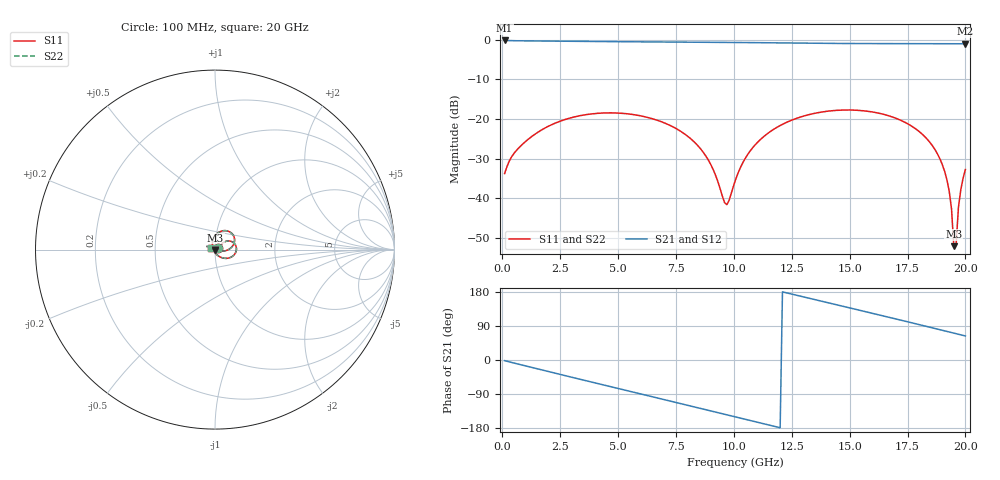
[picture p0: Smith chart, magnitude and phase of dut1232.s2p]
! Touchstone file exported from HFSS 2026.1.0
!  File:  C:/ffzhzh/LocalFiles/Ansys_Project_Files/temp_train_TSV_RDL_1232_1783322736_39728.aedt
!  Generated:  03:34:21 PM Jul  6, 2026
!  Design:  TSV_RDL
!  Project:  temp_train_TSV_RDL_1232_1783322736_39728
! Variables:
!  h_bsmrdl = 3.65um
!  h_ox = 20um
!  h_rdl = 5um
!  h_sub = 82.84um
!  h_tmrdl = 4.75um
!  h_tsv = 82.84um
!  h_via = 3um
!  l_bsmrdl = 904.39um
!  l_sub = 4928.56um
!  l_tmrdl = 420.36um
!  m_sub = 200um
!  pitch = 31.09um
!  r_tsv = 7.45um
!  s_tmrdl = 10um
!  w_bsmrdl = 26.88um
!  w_sub = 500um
!  w_tmrdl = 17.77um
!  x_tsv_center1 = 429.245um
!  x_tsv_center2 = 1360.515um
!  x_tsv_center3 = 1798.645um
!  x_tsv_center4 = 2729.915um
!  x_tsv_center5 = 3168.045um
!  x_tsv_center6 = 4099.315um
# GHz S MA R 50.000000
! Terminal data exported
! Port[1] = TM_RDL1_1_T1
! Port[2] = TM_RDL5_1_T1
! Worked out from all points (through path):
!   200 points, 100 MHz to 20 GHz, reference 50 ohm
!   highest |S21| = -0.17 dB at 100 MHz (marker M1); lowest = -1.0 dB at 20 GHz (marker M2)
!   group delay of S21, straight-line fit = 41 ps
!   lowest |S11| = -52.1 dB at 19.5 GHz (marker M3), VSWR 1.00, Z = 50.2 - j0.144 ohm
!   |S11| at or under -10 dB: start of sweep to end of sweep
!   |S22| runs from -52.1 to -17.7 dB; largest |S21 - S12| = 1.6e-14
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0.1  0.0205 18.8  0.9808 -1.7  0.9808 -1.7  0.0205 18.8
! Gamma 0 0 0 0
! Port Impedance 50 0 50 0
0.5  0.03666 36.0  0.9734 -8.0  0.9734 -8.0  0.03666 36.0
1.3  0.06102 39.8  0.9675 -20.0  0.9675 -20.0  0.06102 39.8
3.5  0.1122 18.6  0.9537 -53.0  0.9537 -53.0  0.1122 18.6
5.2  0.1179 -4.8  0.9452 -78.1  0.9452 -78.1  0.1179 -4.8
6.8  0.09409 -28.7  0.9397 -101.7  0.9397 -101.7  0.09409 -28.7
8.6  0.04078 -61.4  0.9334 -128.4  0.9334 -128.4  0.04075 -61.3
9.1  0.02331 -77.8  0.9311 -135.9  0.9311 -135.9  0.02326 -77.5
9.7  0.008319 -161.1  0.9279 -144.8  0.9279 -144.8  0.008194 -161.3
10.1  0.01801 135.9  0.9255 -150.7  0.9255 -150.7  0.01795 135.5
10.6  0.03573 114.7  0.9224 -158.1  0.9224 -158.1  0.0357 114.4
11.3  0.06037 99.1  0.9176 -168.5  0.9176 -168.5  0.06035 98.9
13.4  0.1165 65.1  0.9038 160.8  0.9038 160.8  0.1165 64.9
16.7  0.1096 17.1  0.895 112.7  0.895 112.7  0.1096 16.9
18  0.06966 -2.0  0.8948 93.5  0.8948 93.5  0.06963 -2.2
18.8  0.03601 -14.0  0.894 81.5  0.894 81.5  0.03598 -14.4
19.3  0.01234 -22.9  0.8929 74.0  0.8929 74.0  0.01231 -23.6
19.4  0.007425 -25.9  0.8926 72.5  0.8926 72.5  0.007403 -27.1
19.5  0.002485 -35.2  0.8922 70.9  0.8922 70.9  0.002484 -38.5
19.6  0.002637 166.2  0.8919 69.4  0.8919 69.4  0.002698 168.7
19.7  0.007668 157.5  0.8915 67.9  0.8915 67.9  0.007711 158.3
20  0.02305 150.6  0.8902 63.4  0.8902 63.4  0.02308 150.8
